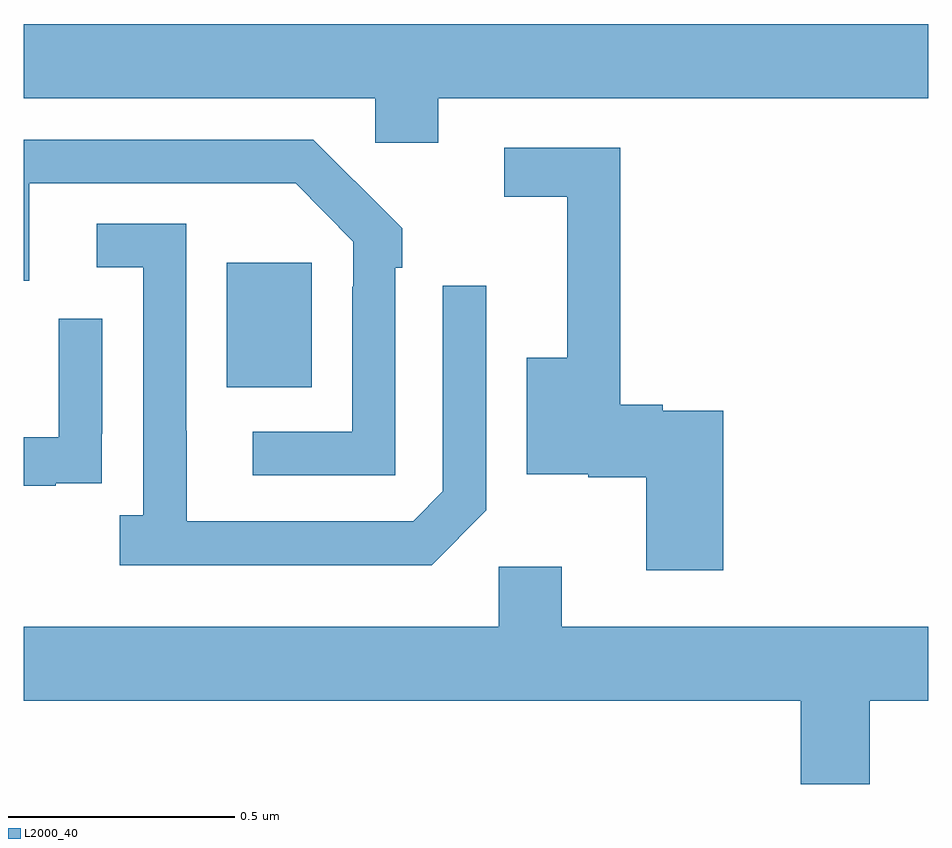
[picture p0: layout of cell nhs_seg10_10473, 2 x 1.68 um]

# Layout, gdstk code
import gdstk
lib = gdstk.Library(unit=1e-6, precision=1e-09)
def R(c, l, rs):  # rectangles x0, y0, x1, y1
    for r in rs: c.add(gdstk.rectangle(r[:2], r[2:], *l))
def P(c, l, *ps):  # polygons
    for p in ps: c.add(gdstk.Polygon(p, *l))
L2000_40 = (2000, 40)

nhs_seg10_10473 = lib.new_cell('nhs_seg10_10473')
R(nhs_seg10_10473, L2000_40, [(243.449,1266.377,243.637,1266.652)])
P(nhs_seg10_10473, L2000_40, [(243.916,1267.016),(245,1267.016),(245,1267.18),(243,1267.18),(243,1267.016),(243.777,1267.016),(243.777,1266.918),(243.916,1266.918)],
  [(243.822,1266.641),(243.837,1266.641),(243.837,1266.729),(243.732,1266.834),(243.731,1266.833),(243.64,1266.924),(243,1266.924),(243,1266.612),(243.013,1266.612),(243.013,1266.828),(243.601,1266.828),(243.729,1266.699),(243.729,1266.599),(243.726,1266.599),(243.726,1266.279),(243.507,1266.279),(243.507,1266.183),(243.822,1266.183)],
  [(244.547,1266.325),(244.413,1266.325),(244.413,1266.338),(244.319,1266.338),(244.319,1266.906),(244.062,1266.906),(244.062,1266.798),(244.202,1266.798),(244.202,1266.442),(244.112,1266.442),(244.112,1266.185),(244.248,1266.185),(244.248,1266.178),(244.376,1266.178),(244.376,1265.973),(244.547,1265.973)],
  [(244.023,1266.105),(244.023,1266.601),(243.927,1266.601),(243.927,1266.147),(243.861,1266.081),(243.361,1266.081),(243.361,1266.281),(243.36,1266.281),(243.36,1266.738),(243.162,1266.738),(243.162,1266.642),(243.264,1266.642),(243.264,1266.094),(243.213,1266.094),(243.213,1265.984),(243.902,1265.984)],
  [(243.071,1266.165),(243.173,1266.165),(243.173,1266.274),(243.174,1266.274),(243.174,1266.529),(243.078,1266.529),(243.078,1266.267),(243,1266.267),(243,1266.159),(243.071,1266.159)],
  [(244.87,1265.684),(245,1265.684),(245,1265.848),(244.189,1265.848),(244.189,1265.98),(244.05,1265.98),(244.05,1265.848),(243,1265.848),(243,1265.684),(244.718,1265.684),(244.718,1265.5),(244.87,1265.5)])

lib.write_gds('nhs_seg10_10473.gds')
